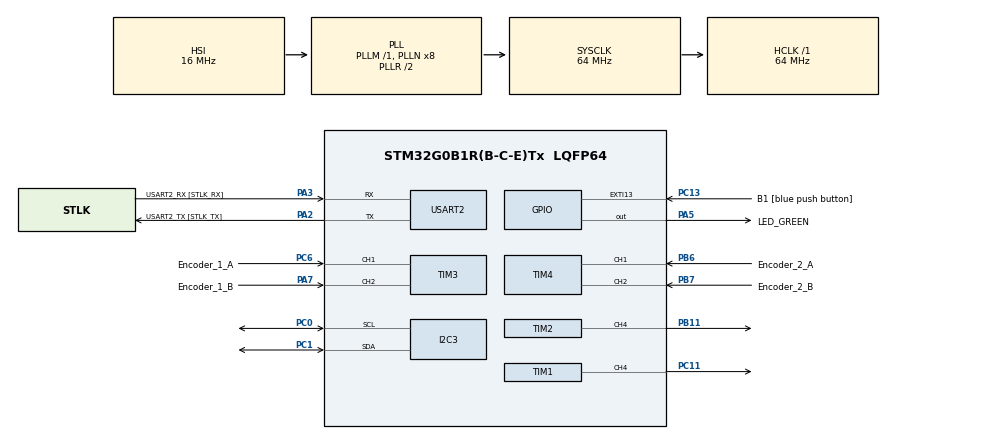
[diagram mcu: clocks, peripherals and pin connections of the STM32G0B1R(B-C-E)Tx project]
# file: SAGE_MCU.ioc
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I2C3.Timing=0x10B17DB5
Mcu.Family=STM32G0
Mcu.Name=STM32G0B1R(B-C-E)Tx
Mcu.Package=LQFP64
NVIC.USART2_LPUART2_IRQn=true\:0\:0\:false\:false\:true\:true\:true\:true
PA13.GPIO_Label=TMS
PA13.Mode=Serial_Wire
PA13.Signal=SYS_SWDIO
PA14-BOOT0.GPIO_Label=TCK
PA14-BOOT0.Mode=Serial_Wire
PA14-BOOT0.Signal=SYS_SWCLK
PA2.GPIO_Label=USART2_TX [STLK_TX]
PA2.Mode=Asynchronous
PA2.Signal=USART2_TX
PA3.GPIO_Label=USART2_RX [STLK_RX]
PA3.Mode=Asynchronous
PA3.Signal=USART2_RX
PA5.GPIO_Label=LED_GREEN
PA5.GPIO_Speed=GPIO_SPEED_FREQ_HIGH
PA5.Signal=GPIO_Output
PA7.GPIO_Label=Encoder_1_B
PA7.Signal=S_TIM3_CH2
PB11.Signal=S_TIM2_CH4
PB6.GPIO_Label=Encoder_2_A
PB6.Signal=S_TIM4_CH1
PB7.GPIO_Label=Encoder_2_B
PB7.Signal=S_TIM4_CH2
PC0.Mode=I2C
PC0.Signal=I2C3_SCL
PC1.Mode=I2C
PC1.Signal=I2C3_SDA
PC11.Signal=S_TIM1_CH4
PC13.GPIO_Label=B1 [blue push button]
PC13.Signal=GPXTI13
PC14-OSC32_IN\ (PC14).Mode=LSE-External-Oscillator
PC14-OSC32_IN\ (PC14).Signal=RCC_OSC32_IN
PC15-OSC32_OUT\ (PC15).Mode=LSE-External-Oscillator
PC15-OSC32_OUT\ (PC15).Signal=RCC_OSC32_OUT
PC6.GPIO_Label=Encoder_1_A
PC6.Signal=S_TIM3_CH1
PF0-OSC_IN\ (PF0).GPIO_Label=MCO
PF0-OSC_IN\ (PF0).Mode=HSE-External-Clock-Source
PF0-OSC_IN\ (PF0).Signal=RCC_OSC_IN
ProjectManager.HeapSize=0x200
ProjectManager.StackSize=0x400
ProjectManager.TargetToolchain=STM32CubeIDE
RCC.ADCFreq_Value=64000000
RCC.AHBFreq_Value=64000000
RCC.CortexFreq_Value=64000000
RCC.EXTERNAL_CLOCK_VALUE=12288000
RCC.HCLKFreq_Value=64000000
RCC.HSE_VALUE=8000000
RCC.HSI48_VALUE=48000000
RCC.HSI_VALUE=16000000
RCC.SYSCLKFreq_VALUE=64000000
RCC.SYSCLKSource=RCC_SYSCLKSOURCE_PLLCLK
RCC.USBFreq_Value=48000000
RCC.VCOOutputFreq_Value=128000000
SH.S_TIM1_CH4.0=TIM1_CH4,PWM Generation4 CH4
SH.S_TIM2_CH4.0=TIM2_CH4,PWM Generation4 CH4
SH.S_TIM3_CH1.0=TIM3_CH1,Encoder_Interface
SH.S_TIM3_CH2.0=TIM3_CH2,Encoder_Interface
SH.S_TIM4_CH1.0=TIM4_CH1,Encoder_Interface
SH.S_TIM4_CH2.0=TIM4_CH2,Encoder_Interface
TIM1.Channel-PWM\ Generation4\ CH4=TIM_CHANNEL_4
TIM1.Period=20000
TIM1.Prescaler=63
TIM2.Channel-PWM\ Generation4\ CH4=TIM_CHANNEL_4
TIM2.Period=20000
TIM2.Prescaler=63
TIM3.IC1Filter=15
TIM3.IC2Filter=15
TIM4.IC1Filter=15
TIM4.IC2Filter=15
USART2.VirtualMode-Asynchronous=VM_ASYNC
VP_SYS_VS_DBSignals.Mode=DisableDeadBatterySignals
VP_TIM1_VS_ClockSourceINT.Mode=Internal
VP_TIM2_VS_ClockSourceINT.Mode=Internal
board=NUCLEO-G0B1RE

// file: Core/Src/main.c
/* USER CODE BEGIN Header */
/**
 ******************************************************************************
 * @file           : main.c
 * @brief          : Main program body
 ******************************************************************************
 * @attention
 *
 * Copyright (c) 2025 STMicroelectronics.
 * All rights reserved.
 *
 * This software is licensed under terms that can be found in the LICENSE file
 * in the root directory of this software component.
 * If no LICENSE file comes with this software, it is provided AS-IS.
 *
 ******************************************************************************
 */
/* USER CODE END Header */
#include "main.h"

/* USER CODE BEGIN Includes */
#include <stdio.h>
#include <string.h>
#include <math.h>
/* USER CODE END Includes */

/* USER CODE BEGIN PD */

#define Lw  0.381 // Distance between wheels (m)
#define WHEEL_DIAMETER  0.154f // Wheel size (m)
#define GEAR_RATIO  0.714f // Ratio from the motor to the wheel
#define Max_RPM  3000.0f // motor speed at 100% speed (guess from aliexpress listing, this needs to be calculated)

#define ENCODER_CPR        100       // counts per motor shaft rev (A or B channel edges before x4)
#define ENC_XMULT          2          // 1,2,4 depending on your timer encoder mode
#define ENCODER_COUNTS_PER_MOTOR_REV  ((ENCODER_CPR)*(ENC_XMULT))

// Control loop rate
#define CTRL_HZ            100.0f
#define CTRL_DT            (1.0f/CTRL_HZ)

// PI gains (start conservative; tune on robot)
#define KP                 0.75f
#define KI                 12.0f
#define KD                 0.0f       // optional; start at 0

// PWM output limit (percent)
#define DUTY_MAX_PCT       100.0f
#define DUTY_MIN_PCT       0.0f

// Sign conventions (flip if your wiring is opposite)
#define DIR_FWD_STATE      GPIO_PIN_SET
#define DIR_REV_STATE      GPIO_PIN_RESET

//#define MPU9250_ADDR 	 0x68  // left-shifted for HAL
#define MPU9250_ADDR_7BIT  0x68
#define MPU9250_ADDR       (MPU9250_ADDR_7BIT << 1)  // HAL expects 8-bit

#define MPU9250_REG_DATA 0x3B
#define PWR_MGMT_1 		 0x6B
#define WHO_AM_I   		 0x75

#define MAX_ACCEL_MPS2   8.0f   // example: 0.5 m/s^2

// --- Serial framing ---
#define SOF            0x7E

#define TYPE_CMD       0x01  // Host -> MCU: v,w
#define TYPE_ODOM      0x02  // MCU -> Host: x,y,th,v,w
#define TYPE_IMU       0x03  // MCU -> Host: gx,gy,gz, ax,ay,az

// Payload sizes (bytes)
#define LEN_CMD        (sizeof(float)*2)   // 8
#define LEN_ODOM       (sizeof(float)*5)   // 20
#define LEN_IMU        (sizeof(float)*6)   // 24

#define MPU9250_ACCEL_XOUT_H 0x3B

#define CMD_TIMEOUT_MS          550U   // if no valid cmd for 250ms -> ramp to stop
#define RX_PAYLOAD_TIMEOUT_MS   200U   // if header received but payload not completed in 50ms -> resync
#define UART_TX_TIMEOUT_MS      5U     // keep control loop responsive under serial backpressure

/* USER CODE END PD */

I2C_HandleTypeDef hi2c3;

TIM_HandleTypeDef htim1;
TIM_HandleTypeDef htim2;
TIM_HandleTypeDef htim3;
TIM_HandleTypeDef htim4;

UART_HandleTypeDef huart2;

/* USER CODE BEGIN PV */

volatile float desired_speed_L = 0.0f;     // m/s  (left wheel)
volatile float desired_speed_R = 0.0f;     // m/s  (right wheel)

volatile float speed_L = 0.0f;     // m/s  (left wheel)
volatile float speed_R = 0.0f;     // m/s  (right wheel)

// Commanded velocities from UART (do NOT reuse v/w which you use for measured odom)
volatile float cmd_v = 0.0f;   // m/s commanded
volatile float cmd_w = 0.0f;   // rad/s commanded
volatile uint32_t last_cmd_ms = 0;

// UART RX framing state (byte-wise header hunt, then payload)
typedef enum {
    RX_WAIT_HEADER = 0,
    RX_WAIT_PAYLOAD
} rx_state_t;

static volatile rx_state_t rx_state = RX_WAIT_HEADER;
static uint8_t  rx_header_byte = 0;
static uint8_t  rx_payload[8];              // 2 floats = 8 bytes
static volatile uint32_t rx_payload_start_ms = 0;

// Forward decl helpers
static void UART_StartRx(void);
static void UART_RxWatchdog(void);

//static float cmd_speed_L = 0.0f; // m/s  (left wheel) These are used for acceleration limiting
//static float cmd_speed_R = 0.0f; // m/s  (right wheel)

static int32_t enc_prev_L = 0; // delta counts L
static int32_t enc_prev_R = 0; // delta counts R

float robot_X = 0.0f; // m
float robot_Y = 0.0f; // m
float robot_Theta = 0.0f; // rad

// PI integrators
static float i_term_L = 0.0f;
static float i_term_R = 0.0f;

// ±2 g, ±250 dps on MPU‑9250
static const float ACCEL_SENSE = 16384.0f;   // LSB/g
static const float GYRO_SENSE  = 131.0f;     // LSB/(deg/s)

// uint8_t rxPacket[9];  // 1 header + 8 bytes for two floats

float v = 0.0f; // velocity m/s
float w = 0.0f; // angular velocity rad/s

uint8_t IM_buf[14]; // IMU data buffer

typedef struct { // IMU data structure
	float ax, ay, az;    // m/s^2
	float gx, gy, gz;    // rad/s
} IMU_Data_t;

/* USER CODE END PV */

void SystemClock_Config(void);
static void MX_GPIO_Init(void);
static void MX_USART2_UART_Init(void);
static void MX_TIM1_Init(void);
static void MX_TIM2_Init(void);
static void MX_TIM3_Init(void);
static void MX_TIM4_Init(void);
static void MX_I2C3_Init(void);
/* USER CODE BEGIN PFP */
void Motor_SetSpeed_L(float v);
void Motor_SetSpeed_R(float v);
IMU_Data_t Read_IMU(void);
/* USER CODE END PFP */

/* USER CODE BEGIN 0 */

static void UART_StartRx(void)
{
    rx_state = RX_WAIT_HEADER;

    // Clear common UART error flags that can prevent RX after power-up noise
    __HAL_UART_CLEAR_OREFLAG(&huart2);
    __HAL_UART_CLEAR_NEFLAG(&huart2);
    __HAL_UART_CLEAR_FEFLAG(&huart2);
    __HAL_UART_CLEAR_PEFLAG(&huart2);
    __HAL_UART_CLEAR_IDLEFLAG(&huart2);

    // Arm reception of 1 byte (header hunt)
    HAL_UART_Receive_IT(&huart2, &rx_header_byte, 1);
}

static void UART_RxWatchdog(void)
{
    // If we saw a header but never got the 8 payload bytes (line noise / host stop),
    // abort and resync so we don't stay stuck forever.
    if (rx_state == RX_WAIT_PAYLOAD) {
        uint32_t now = HAL_GetTick();
        if ((now - rx_payload_start_ms) > RX_PAYLOAD_TIMEOUT_MS) {
            (void)HAL_UART_AbortReceive_IT(&huart2);
            UART_StartRx();
        }
    }
}

static inline float clampf(float x, float lo, float hi) {
	if (x < lo) return lo;
	if (x > hi) return hi;
	return x;
}

void Motors_Init(void)
{
	// Start PWM channels
	HAL_TIM_PWM_Start(&htim1, TIM_CHANNEL_4);   // Right
	HAL_TIM_PWM_Start(&htim2, TIM_CHANNEL_4);   // Left

	// Start encoder interfaces
	HAL_TIM_Encoder_Start(&htim3, TIM_CHANNEL_ALL);
	HAL_TIM_Encoder_Start(&htim4, TIM_CHANNEL_ALL);

	Motor_SetSpeed_L(0.0f);
	Motor_SetSpeed_R(0.0f);

	// Reset counter
	__HAL_TIM_SET_COUNTER(&htim3, 0);
	__HAL_TIM_SET_COUNTER(&htim4, 0);

	enc_prev_L = 0;
	enc_prev_R = 0;
}

static void IMU_Init(void)
{
	uint8_t data;

	// Check WHO_AM_I (should return 0x71 for MPU9250)
	if (HAL_I2C_Mem_Read(&hi2c3, MPU9250_ADDR, WHO_AM_I, 1, &data, 1, 100) == HAL_OK) {
		char msg[32];
		int len = snprintf(msg, sizeof(msg), "WHO_AM_I=0x%02X\r\n", data);
		HAL_UART_Transmit(&huart2, (uint8_t*)msg, len, 100);
	} else {
		const char *err = "IMU not found!\r\n";
		HAL_UART_Transmit(&huart2, (uint8_t*)err, strlen(err), 100);
	}

	// Wake up the device (clear sleep bit)
	data = 0x00;
	HAL_I2C_Mem_Write(&hi2c3, MPU9250_ADDR, PWR_MGMT_1, 1, &data, 1, 100);

}

IMU_Data_t Read_IMU(void)
{
	IMU_Data_t d;
	uint8_t buf[14];

	if (HAL_I2C_Mem_Read(&hi2c3, MPU9250_ADDR, MPU9250_ACCEL_XOUT_H,
			I2C_MEMADD_SIZE_8BIT, buf, sizeof(buf), 100) != HAL_OK)
	{
		// If read failed, zero values
		d.ax = d.ay = d.az = 0.0f;
		d.gx = d.gy = d.gz = 0.0f;
		return d;
	}

	// Convert raw values
	int16_t raw_ax = (buf[0] << 8) | buf[1];
	int16_t raw_ay = (buf[2] << 8) | buf[3];
	int16_t raw_az = (buf[4] << 8) | buf[5];
	int16_t raw_gx = (buf[8] << 8) | buf[9];
	int16_t raw_gy = (buf[10] << 8) | buf[11];
	int16_t raw_gz = (buf[12] << 8) | buf[13];

	// Accel → m/s^2
	d.ax = (raw_ax / ACCEL_SENSE) * 9.80665f;
	d.ay = (raw_ay / ACCEL_SENSE) * 9.80665f;
	d.az = (raw_az / ACCEL_SENSE) * 9.80665f; // weird ass persistent bias removal

	// Gyro → rad/s
	float gx_dps = raw_gx / GYRO_SENSE;
	float gy_dps = raw_gy / GYRO_SENSE;
	float gz_dps = raw_gz / GYRO_SENSE;

	d.gx = gx_dps * (float)M_PI / 180.0f;
	d.gy = gy_dps * (float)M_PI / 180.0f;
	d.gz = gz_dps * (float)M_PI / 180.0f;

	return d;
}

// Returns counts since last call; handles 16-bit wrap. Bind this to your actual encoder timers.
int32_t encoder_delta_counts(TIM_HandleTypeDef *ht, int32_t *prev_accum)
{
	// Read 16-bit counter (most STM32 timers default to 16b in encoder mode)
	uint16_t now = __HAL_TIM_GET_COUNTER(ht);
	static uint16_t lastL = 0, lastR = 0;

	uint16_t *plast = (ht == &htim3) ? &lastL : &lastR;

	int16_t diff = (int16_t)(now - *plast);   // signed wrap-safe delta
	*plast = now;

	// Accumulate into 32-bit (optional)
	*prev_accum += diff;

	return diff;
}

float counts_to_wheel_mps(int32_t delta_counts, float dt_s)
{
	if (dt_s <= 0.0001f) dt_s = CTRL_DT;

	// Motor revs during dt
	float motor_revs = (float)delta_counts / (float)ENCODER_COUNTS_PER_MOTOR_REV;
	float wheel_revs = motor_revs / GEAR_RATIO;

	float wheel_rps  = wheel_revs / dt_s;
	float circumference = (float)M_PI * WHEEL_DIAMETER;

	return -wheel_rps * circumference;  // m/s
}

// Set speed: 1000–2000: 1500 = 0 rpm, 2000 = full forward, 1000 = full reverse
void Motor_SetSpeed_L(float v)
{
	uint16_t speed = 1500 - (v*100);
	if (speed > 1700) speed = 1700;
	if (speed < 1300) speed = 1300;
	__HAL_TIM_SET_COMPARE(&htim1, TIM_CHANNEL_4, speed);
}
void Motor_SetSpeed_R(float v)
{
	uint16_t speed =  1500 + (v*100);
	if (speed > 1700) speed = 1700;
	if (speed < 1300) speed = 1300;
	__HAL_TIM_SET_COMPARE(&htim2, TIM_CHANNEL_4, speed);
}

// v  = forward speed (m/s)
// w  = angular speed (rad/s)
// Lw = distance between wheels (m)
void Robot_Set_Velocity(float v_in, float w_in)
{
    cmd_v = v_in;
    cmd_w = w_in;
    last_cmd_ms = HAL_GetTick();   // treat as a fresh command source
}

void Control_Update(void)
{
    static uint32_t last_ctrl_ms = 0;

    uint32_t now_ms = HAL_GetTick();
    float dt = CTRL_DT;
    if (last_ctrl_ms != 0) {
        uint32_t dms = now_ms - last_ctrl_ms;
        dt = (float)dms * 0.001f;
        dt = clampf(dt, 0.001f, 0.050f);
    }
    last_ctrl_ms = now_ms;

    // --- Apply command timeout: if no recent UART cmd, force cmd_v/cmd_w to 0
    float local_cmd_v = cmd_v;
    float local_cmd_w = cmd_w;

    if ((now_ms - last_cmd_ms) > CMD_TIMEOUT_MS) {
        local_cmd_v = 0.0f;
        local_cmd_w = 0.0f;
    }

    // Convert (v,w) command into wheel targets
    float target_L = local_cmd_v - (local_cmd_w * Lw / 2.0f);
    float target_R = local_cmd_v + (local_cmd_w * Lw / 2.0f);

    // Slew-limit desired wheel speeds so stopping is gradual
    const float max_dv = MAX_ACCEL_MPS2 * dt; // m/s per control tick

    float stepL = clampf(target_L - desired_speed_L, -max_dv, +max_dv);
    float stepR = clampf(target_R - desired_speed_R, -max_dv, +max_dv);

    desired_speed_L += stepL;
    desired_speed_R += stepR;

    // 1) Measure wheel speeds from encoders
    int32_t dL = encoder_delta_counts(&htim4, &enc_prev_L);
    int32_t dR = -encoder_delta_counts(&htim3, &enc_prev_R);

    float vL_meas = counts_to_wheel_mps(dL, dt); // m/s
    float vR_meas = counts_to_wheel_mps(dR, dt); // m/s

    float v_robot = (vL_meas + vR_meas) / 2.0f; // m/s
    float w_robot = (vR_meas - vL_meas) / Lw;   // rad/s

    // Integrate to update position and orientation
    robot_Theta += w_robot * dt;
    robot_Theta = fmodf(robot_Theta, 2.0f * (float)M_PI);

    robot_X += v_robot * cosf(robot_Theta) * dt;
    robot_Y += v_robot * sinf(robot_Theta) * dt;

    // These are MEASURED (used for odom TX)
    v = v_robot;
    w = w_robot;

    // Errors (m/s)
    float eL = desired_speed_L - vL_meas;
    float eR = desired_speed_R - vR_meas;

    // PI control
    i_term_L += KI * eL * dt;
    i_term_R += KI * eR * dt;

    if ((fabsf(local_cmd_v) < 0.01f) && (fabsf(local_cmd_w) < 0.01f)) {
        i_term_L *= 0.98f;
        i_term_R *= 0.98f;
    }
    i_term_L = clampf(i_term_L, -0.5f, 0.5f);
    i_term_R = clampf(i_term_R, -0.5f, 0.5f);

    float uL = KP * eL + i_term_L;
    float uR = KP * eR + i_term_R;

    Motor_SetSpeed_L(desired_speed_L + uL);
    Motor_SetSpeed_R(desired_speed_R + uR);
}

void HAL_UART_RxCpltCallback(UART_HandleTypeDef *huart)
{
    if (huart->Instance != USART2) return;

    if (rx_state == RX_WAIT_HEADER)
    {
        // Look for header byte 'x' == 120
        if (rx_header_byte == 120)
        {
            rx_state = RX_WAIT_PAYLOAD;
            rx_payload_start_ms = HAL_GetTick();
            HAL_UART_Receive_IT(&huart2, rx_payload, sizeof(rx_payload)); // 8 bytes
        }
        else
        {
            // Keep hunting for header
            HAL_UART_Receive_IT(&huart2, &rx_header_byte, 1);
        }
    }
    else // RX_WAIT_PAYLOAD
    {
        float new_cmd_v = 0.0f;
        float new_cmd_w = 0.0f;

        memcpy(&new_cmd_v, &rx_payload[0],  sizeof(float));
        memcpy(&new_cmd_w, &rx_payload[4],  sizeof(float));

        cmd_v = new_cmd_v;
        cmd_w = new_cmd_w;
        last_cmd_ms = HAL_GetTick();

        HAL_GPIO_TogglePin(GPIOA, GPIO_PIN_5);

        // Go back to header hunt (resync-friendly)
        rx_state = RX_WAIT_HEADER;
        HAL_UART_Receive_IT(&huart2, &rx_header_byte, 1);
    }
}

static void TX_Odom(void)
{
	uint8_t buf[3 + LEN_ODOM]; // SOF, TYPE, LEN + payload
	buf[0] = SOF;
	buf[1] = TYPE_ODOM;
	buf[2] = LEN_ODOM;

	// payload: x, y, theta, v, w (float32 LE)
	memcpy(&buf[3],      &robot_X,   4);
	memcpy(&buf[3 + 4],  &robot_Y,   4);
	memcpy(&buf[3 + 8],  &robot_Theta, 4);
	memcpy(&buf[3 + 12], &v, 4);
	memcpy(&buf[3 + 16], &w, 4);

	(void)HAL_UART_Transmit(&huart2, buf, sizeof(buf), UART_TX_TIMEOUT_MS);
}

static void TX_Imu(const IMU_Data_t* d)
{
	uint8_t buf[3 + LEN_IMU];
	buf[0] = SOF;
	buf[1] = TYPE_IMU;
	buf[2] = LEN_IMU;

	memcpy(&buf[3],      &d->gx, 4);
	memcpy(&buf[3 + 4],  &d->gy, 4);
	memcpy(&buf[3 + 8],  &d->gz, 4);
	memcpy(&buf[3 + 12], &d->ax, 4);
	memcpy(&buf[3 + 16], &d->ay, 4);
	memcpy(&buf[3 + 20], &d->az, 4);

	(void)HAL_UART_Transmit(&huart2, buf, sizeof(buf), UART_TX_TIMEOUT_MS);
}

void Control_Packet(uint8_t Control_Byte)
{
	switch (Control_Byte)
	{
	case 69: // Stop
		NVIC_SystemReset(); // reset the MCU
		break;
	}
}

void HAL_UART_ErrorCallback(UART_HandleTypeDef *huart)
{
    if (huart->Instance != USART2) return;

    (void)HAL_UART_AbortReceive_IT(&huart2);
    UART_StartRx();
}

/* USER CODE END 0 */

int main(void)
{

  /* MCU Configuration--------------------------------------------------------*/

  /* Reset of all peripherals, Initializes the Flash interface and the Systick. */
  HAL_Init();

  /* Configure the system clock */
  SystemClock_Config();

  /* Initialize all configured peripherals */
  MX_GPIO_Init();
  MX_USART2_UART_Init();
  MX_TIM1_Init();
  MX_TIM2_Init();
  MX_TIM3_Init();
  MX_TIM4_Init();
  MX_I2C3_Init();
  /* USER CODE BEGIN 2 */

	Motors_Init(); // Start these motors dih
	IMU_Init(); // ts pmo sybau

    // Initialize cmd timing so it starts "timed out" => ramps to 0 until first cmd arrives
    last_cmd_ms = HAL_GetTick();

    // Start UART RX in resync-friendly mode
    UART_StartRx();

	const uint32_t tick_period   = 1000U / CTRL_HZ; // 10 ms
	const uint32_t odom_period   = 1000U / 50;      // 20 ms -> 50 Hz
	const uint32_t imu_period    = 1000U / 100;     // 10 ms  -> 100 Hz

	uint32_t currentTime;
	uint32_t prevUpdateTime = 0;
	uint32_t prevTXTime = 0;
	uint32_t prevIMUTime = 0;

  /* USER CODE END 2 */

  /* Infinite loop */
	while (1)
	{

    /* USER CODE BEGIN 3 */

		currentTime = HAL_GetTick();

		// RX watchdog to escape "header received but payload never completed"
		UART_RxWatchdog();

		if( (currentTime - prevUpdateTime) >= tick_period){
			Control_Update();
			prevUpdateTime = currentTime;
		}

		if( (currentTime - prevTXTime) >= odom_period){
			TX_Odom();
			prevTXTime = currentTime;
		}

		if( (currentTime - prevIMUTime) >= imu_period){
			IMU_Data_t d = Read_IMU();   // consider bias removal here
			TX_Imu(&d);
			prevIMUTime = currentTime;
		}
	}
  /* USER CODE END 3 */
}

void SystemClock_Config(void)
{
  RCC_OscInitTypeDef RCC_OscInitStruct = {0};
  RCC_ClkInitTypeDef RCC_ClkInitStruct = {0};

  /** Configure the main internal regulator output voltage
  */
  HAL_PWREx_ControlVoltageScaling(PWR_REGULATOR_VOLTAGE_SCALE1);

  /** Initializes the RCC Oscillators according to the specified parameters
  * in the RCC_OscInitTypeDef structure.
  */
  RCC_OscInitStruct.OscillatorType = RCC_OSCILLATORTYPE_HSI;
  RCC_OscInitStruct.HSIState = RCC_HSI_ON;
  RCC_OscInitStruct.HSIDiv = RCC_HSI_DIV1;
  RCC_OscInitStruct.HSICalibrationValue = RCC_HSICALIBRATION_DEFAULT;
  RCC_OscInitStruct.PLL.PLLState = RCC_PLL_ON;
  RCC_OscInitStruct.PLL.PLLSource = RCC_PLLSOURCE_HSI;
  RCC_OscInitStruct.PLL.PLLM = RCC_PLLM_DIV1;
  RCC_OscInitStruct.PLL.PLLN = 8;
  RCC_OscInitStruct.PLL.PLLP = RCC_PLLP_DIV2;
  RCC_OscInitStruct.PLL.PLLQ = RCC_PLLQ_DIV2;
  RCC_OscInitStruct.PLL.PLLR = RCC_PLLR_DIV2;
  if (HAL_RCC_OscConfig(&RCC_OscInitStruct) != HAL_OK)
  {
    Error_Handler();
  }

  /** Initializes the CPU, AHB and APB buses clocks
  */
  RCC_ClkInitStruct.ClockType = RCC_CLOCKTYPE_HCLK|RCC_CLOCKTYPE_SYSCLK
                              |RCC_CLOCKTYPE_PCLK1;
  RCC_ClkInitStruct.SYSCLKSource = RCC_SYSCLKSOURCE_PLLCLK;
  RCC_ClkInitStruct.AHBCLKDivider = RCC_SYSCLK_DIV1;
  RCC_ClkInitStruct.APB1CLKDivider = RCC_HCLK_DIV1;

  if (HAL_RCC_ClockConfig(&RCC_ClkInitStruct, FLASH_LATENCY_2) != HAL_OK)
  {
    Error_Handler();
  }
}

static void MX_I2C3_Init(void)
{

  hi2c3.Instance = I2C3;
  hi2c3.Init.Timing = 0x10B17DB5;
  hi2c3.Init.OwnAddress1 = 0;
  hi2c3.Init.AddressingMode = I2C_ADDRESSINGMODE_7BIT;
  hi2c3.Init.DualAddressMode = I2C_DUALADDRESS_DISABLE;
  hi2c3.Init.OwnAddress2 = 0;
  hi2c3.Init.OwnAddress2Masks = I2C_OA2_NOMASK;
  hi2c3.Init.GeneralCallMode = I2C_GENERALCALL_DISABLE;
  hi2c3.Init.NoStretchMode = I2C_NOSTRETCH_DISABLE;
  if (HAL_I2C_Init(&hi2c3) != HAL_OK)
  {
    Error_Handler();
  }

  /** Configure Analogue filter
  */
  if (HAL_I2CEx_ConfigAnalogFilter(&hi2c3, I2C_ANALOGFILTER_ENABLE) != HAL_OK)
  {
    Error_Handler();
  }

  /** Configure Digital filter
  */
  if (HAL_I2CEx_ConfigDigitalFilter(&hi2c3, 0) != HAL_OK)
  {
    Error_Handler();
  }

}

static void MX_TIM1_Init(void)
{

  TIM_ClockConfigTypeDef sClockSourceConfig = {0};
  TIM_MasterConfigTypeDef sMasterConfig = {0};
  TIM_OC_InitTypeDef sConfigOC = {0};
  TIM_BreakDeadTimeConfigTypeDef sBreakDeadTimeConfig = {0};

  htim1.Instance = TIM1;
  htim1.Init.Prescaler = 63;
  htim1.Init.CounterMode = TIM_COUNTERMODE_UP;
  htim1.Init.Period = 20000;
  htim1.Init.ClockDivision = TIM_CLOCKDIVISION_DIV1;
  htim1.Init.RepetitionCounter = 0;
  htim1.Init.AutoReloadPreload = TIM_AUTORELOAD_PRELOAD_DISABLE;
  if (HAL_TIM_Base_Init(&htim1) != HAL_OK)
  {
    Error_Handler();
  }
  sClockSourceConfig.ClockSource = TIM_CLOCKSOURCE_INTERNAL;
  if (HAL_TIM_ConfigClockSource(&htim1, &sClockSourceConfig) != HAL_OK)
  {
    Error_Handler();
  }
  if (HAL_TIM_PWM_Init(&htim1) != HAL_OK)
  {
    Error_Handler();
  }
  sMasterConfig.MasterOutputTrigger = TIM_TRGO_RESET;
  sMasterConfig.MasterOutputTrigger2 = TIM_TRGO2_RESET;
  sMasterConfig.MasterSlaveMode = TIM_MASTERSLAVEMODE_DISABLE;
  if (HAL_TIMEx_MasterConfigSynchronization(&htim1, &sMasterConfig) != HAL_OK)
  {
    Error_Handler();
  }
  sConfigOC.OCMode = TIM_OCMODE_PWM1;
  sConfigOC.Pulse = 0;
  sConfigOC.OCPolarity = TIM_OCPOLARITY_HIGH;
  sConfigOC.OCFastMode = TIM_OCFAST_DISABLE;
  sConfigOC.OCIdleState = TIM_OCIDLESTATE_RESET;
  sConfigOC.OCNIdleState = TIM_OCNIDLESTATE_RESET;
  if (HAL_TIM_PWM_ConfigChannel(&htim1, &sConfigOC, TIM_CHANNEL_4) != HAL_OK)
  {
    Error_Handler();
  }
  sBreakDeadTimeConfig.OffStateRunMode = TIM_OSSR_DISABLE;
  sBreakDeadTimeConfig.OffStateIDLEMode = TIM_OSSI_DISABLE;
  sBreakDeadTimeConfig.LockLevel = TIM_LOCKLEVEL_OFF;
  sBreakDeadTimeConfig.DeadTime = 0;
  sBreakDeadTimeConfig.BreakState = TIM_BREAK_DISABLE;
  sBreakDeadTimeConfig.BreakPolarity = TIM_BREAKPOLARITY_HIGH;
  sBreakDeadTimeConfig.BreakFilter = 0;
  sBreakDeadTimeConfig.BreakAFMode = TIM_BREAK_AFMODE_INPUT;
  sBreakDeadTimeConfig.Break2State = TIM_BREAK2_DISABLE;
  sBreakDeadTimeConfig.Break2Polarity = TIM_BREAK2POLARITY_HIGH;
  sBreakDeadTimeConfig.Break2Filter = 0;
  sBreakDeadTimeConfig.Break2AFMode = TIM_BREAK_AFMODE_INPUT;
  sBreakDeadTimeConfig.AutomaticOutput = TIM_AUTOMATICOUTPUT_DISABLE;
  if (HAL_TIMEx_ConfigBreakDeadTime(&htim1, &sBreakDeadTimeConfig) != HAL_OK)
  {
    Error_Handler();
  }
  HAL_TIM_MspPostInit(&htim1);

}

static void MX_TIM2_Init(void)
{

  TIM_ClockConfigTypeDef sClockSourceConfig = {0};
  TIM_MasterConfigTypeDef sMasterConfig = {0};
  TIM_OC_InitTypeDef sConfigOC = {0};

  htim2.Instance = TIM2;
  htim2.Init.Prescaler = 63;
  htim2.Init.CounterMode = TIM_COUNTERMODE_UP;
  htim2.Init.Period = 20000;
  htim2.Init.ClockDivision = TIM_CLOCKDIVISION_DIV1;
  htim2.Init.AutoReloadPreload = TIM_AUTORELOAD_PRELOAD_DISABLE;
  if (HAL_TIM_Base_Init(&htim2) != HAL_OK)
  {
    Error_Handler();
  }
  sClockSourceConfig.ClockSource = TIM_CLOCKSOURCE_INTERNAL;
  if (HAL_TIM_ConfigClockSource(&htim2, &sClockSourceConfig) != HAL_OK)
  {
    Error_Handler();
  }
  if (HAL_TIM_PWM_Init(&htim2) != HAL_OK)
  {
    Error_Handler();
  }
  sMasterConfig.MasterOutputTrigger = TIM_TRGO_RESET;
  sMasterConfig.MasterSlaveMode = TIM_MASTERSLAVEMODE_DISABLE;
  if (HAL_TIMEx_MasterConfigSynchronization(&htim2, &sMasterConfig) != HAL_OK)
  {
    Error_Handler();
  }
  sConfigOC.OCMode = TIM_OCMODE_PWM1;
  sConfigOC.Pulse = 0;
  sConfigOC.OCPolarity = TIM_OCPOLARITY_HIGH;
  sConfigOC.OCFastMode = TIM_OCFAST_DISABLE;
  if (HAL_TIM_PWM_ConfigChannel(&htim2, &sConfigOC, TIM_CHANNEL_4) != HAL_OK)
  {
    Error_Handler();
  }
  HAL_TIM_MspPostInit(&htim2);

}

static void MX_TIM3_Init(void)
{

  TIM_Encoder_InitTypeDef sConfig = {0};
  TIM_MasterConfigTypeDef sMasterConfig = {0};

  htim3.Instance = TIM3;
  htim3.Init.Prescaler = 0;
  htim3.Init.CounterMode = TIM_COUNTERMODE_UP;
  htim3.Init.Period = 65535;
  htim3.Init.ClockDivision = TIM_CLOCKDIVISION_DIV1;
  htim3.Init.AutoReloadPreload = TIM_AUTORELOAD_PRELOAD_DISABLE;
  sConfig.EncoderMode = TIM_ENCODERMODE_TI1;
  sConfig.IC1Polarity = TIM_ICPOLARITY_RISING;
  sConfig.IC1Selection = TIM_ICSELECTION_DIRECTTI;
  sConfig.IC1Prescaler = TIM_ICPSC_DIV1;
  sConfig.IC1Filter = 15;
  sConfig.IC2Polarity = TIM_ICPOLARITY_RISING;
  sConfig.IC2Selection = TIM_ICSELECTION_DIRECTTI;
  sConfig.IC2Prescaler = TIM_ICPSC_DIV1;
  sConfig.IC2Filter = 15;
  if (HAL_TIM_Encoder_Init(&htim3, &sConfig) != HAL_OK)
  {
    Error_Handler();
  }
  sMasterConfig.MasterOutputTrigger = TIM_TRGO_RESET;
  sMasterConfig.MasterSlaveMode = TIM_MASTERSLAVEMODE_DISABLE;
  if (HAL_TIMEx_MasterConfigSynchronization(&htim3, &sMasterConfig) != HAL_OK)
  {
    Error_Handler();
  }

}

static void MX_TIM4_Init(void)
{

  TIM_Encoder_InitTypeDef sConfig = {0};
  TIM_MasterConfigTypeDef sMasterConfig = {0};

  htim4.Instance = TIM4;
  htim4.Init.Prescaler = 0;
  htim4.Init.CounterMode = TIM_COUNTERMODE_UP;
  htim4.Init.Period = 65535;
  htim4.Init.ClockDivision = TIM_CLOCKDIVISION_DIV1;
  htim4.Init.AutoReloadPreload = TIM_AUTORELOAD_PRELOAD_DISABLE;
  sConfig.EncoderMode = TIM_ENCODERMODE_TI1;
  sConfig.IC1Polarity = TIM_ICPOLARITY_RISING;
  sConfig.IC1Selection = TIM_ICSELECTION_DIRECTTI;
  sConfig.IC1Prescaler = TIM_ICPSC_DIV1;
  sConfig.IC1Filter = 15;
  sConfig.IC2Polarity = TIM_ICPOLARITY_RISING;
  sConfig.IC2Selection = TIM_ICSELECTION_DIRECTTI;
  sConfig.IC2Prescaler = TIM_ICPSC_DIV1;
  sConfig.IC2Filter = 15;
  if (HAL_TIM_Encoder_Init(&htim4, &sConfig) != HAL_OK)
  {
    Error_Handler();
  }
  sMasterConfig.MasterOutputTrigger = TIM_TRGO_RESET;
  sMasterConfig.MasterSlaveMode = TIM_MASTERSLAVEMODE_DISABLE;
  if (HAL_TIMEx_MasterConfigSynchronization(&htim4, &sMasterConfig) != HAL_OK)
  {
    Error_Handler();
  }

}

static void MX_USART2_UART_Init(void)
{

  huart2.Instance = USART2;
  huart2.Init.BaudRate = 115200;
  huart2.Init.WordLength = UART_WORDLENGTH_8B;
  huart2.Init.StopBits = UART_STOPBITS_1;
  huart2.Init.Parity = UART_PARITY_NONE;
  huart2.Init.Mode = UART_MODE_TX_RX;
  huart2.Init.HwFlowCtl = UART_HWCONTROL_NONE;
  huart2.Init.OverSampling = UART_OVERSAMPLING_16;
  huart2.Init.OneBitSampling = UART_ONE_BIT_SAMPLE_DISABLE;
  huart2.Init.ClockPrescaler = UART_PRESCALER_DIV1;
  huart2.AdvancedInit.AdvFeatureInit = UART_ADVFEATURE_NO_INIT;
  if (HAL_UART_Init(&huart2) != HAL_OK)
  {
    Error_Handler();
  }
  if (HAL_UARTEx_SetTxFifoThreshold(&huart2, UART_TXFIFO_THRESHOLD_1_8) != HAL_OK)
  {
    Error_Handler();
  }
  if (HAL_UARTEx_SetRxFifoThreshold(&huart2, UART_RXFIFO_THRESHOLD_1_8) != HAL_OK)
  {
    Error_Handler();
  }
  if (HAL_UARTEx_DisableFifoMode(&huart2) != HAL_OK)
  {
    Error_Handler();
  }

}

static void MX_GPIO_Init(void)
{
  GPIO_InitTypeDef GPIO_InitStruct = {0};

  /* GPIO Ports Clock Enable */
  __HAL_RCC_GPIOC_CLK_ENABLE();
  __HAL_RCC_GPIOF_CLK_ENABLE();
  __HAL_RCC_GPIOA_CLK_ENABLE();
  __HAL_RCC_GPIOB_CLK_ENABLE();

  /*Configure GPIO pin Output Level */
  HAL_GPIO_WritePin(LED_GREEN_GPIO_Port, LED_GREEN_Pin, GPIO_PIN_RESET);

  /*Configure GPIO pin : B1_Pin */
  GPIO_InitStruct.Pin = B1_Pin;
  GPIO_InitStruct.Mode = GPIO_MODE_IT_RISING;
  GPIO_InitStruct.Pull = GPIO_NOPULL;
  HAL_GPIO_Init(B1_GPIO_Port, &GPIO_InitStruct);

  /*Configure GPIO pin : LED_GREEN_Pin */
  GPIO_InitStruct.Pin = LED_GREEN_Pin;
  GPIO_InitStruct.Mode = GPIO_MODE_OUTPUT_PP;
  GPIO_InitStruct.Pull = GPIO_NOPULL;
  GPIO_InitStruct.Speed = GPIO_SPEED_FREQ_HIGH;
  HAL_GPIO_Init(LED_GREEN_GPIO_Port, &GPIO_InitStruct);

}

void Error_Handler(void)
{
  /* USER CODE BEGIN Error_Handler_Debug */
	/* User can add his own implementation to report the HAL error return state */
	__disable_irq();
	while (1)
	{
		HAL_Delay(800);
		HAL_GPIO_TogglePin(GPIOA, GPIO_PIN_5);
	}
  /* USER CODE END Error_Handler_Debug */
}
